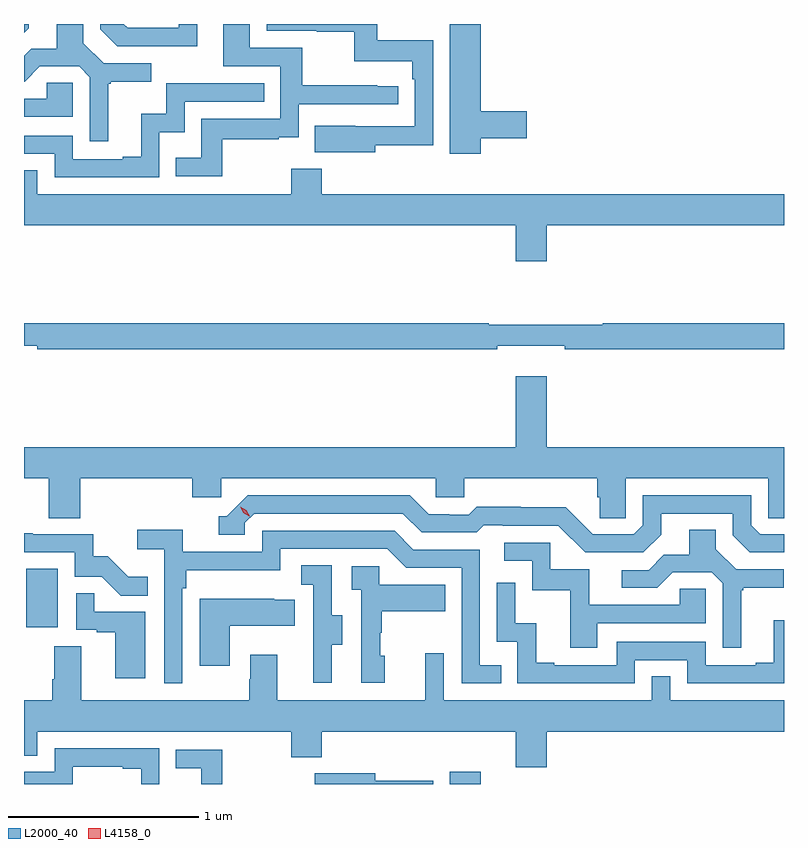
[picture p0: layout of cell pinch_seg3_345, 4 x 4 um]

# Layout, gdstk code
import gdstk
lib = gdstk.Library(unit=1e-6, precision=1e-09)
def R(c, l, rs):  # rectangles x0, y0, x1, y1
    for r in rs: c.add(gdstk.rectangle(r[:2], r[2:], *l))
def P(c, l, *ps):  # polygons
    for p in ps: c.add(gdstk.Polygon(p, *l))
L2000_40 = (2000, 40)
L4158_0 = (4158, 0)

pinch_seg3_345 = lib.new_cell('pinch_seg3_345')
R(pinch_seg3_345, L2000_40, [(1003.823,691.316,1003.984,691.381), (1001.594,692.142,1001.758,692.449)])
P(pinch_seg3_345, L2000_40, [(1002.625,694.71),(1002.923,694.71),(1002.923,694.721),(1003.026,694.721),(1003.026,694.893),(1003.552,694.893),(1003.552,694.989),(1003.439,694.989),(1003.439,694.994),(1003.046,694.994),(1003.046,695.19),(1002.769,695.19),(1002.769,695.316),(1002.629,695.316),(1002.629,695.094),(1002.93,695.094),(1002.93,694.818),(1002.514,694.818),(1002.514,694.612),(1002.379,694.612),(1002.379,694.515),(1002.625,694.515)],
  [(1003.984,694.714),(1004.227,694.714),(1004.227,694.856),(1003.984,694.856),(1003.984,695.316),(1003.823,695.316),(1003.823,694.632),(1003.984,694.632)],
  [(1003.429,694.678),(1003.734,694.678),(1003.734,695.23),(1003.441,695.23),(1003.441,695.316),(1002.858,695.316),(1002.858,695.28),(1003.123,695.28),(1003.123,695.275),(1003.32,695.275),(1003.32,695.12),(1003.625,695.12),(1003.625,695.024),(1003.638,695.024),(1003.638,694.779),(1003.325,694.779),(1003.325,694.78),(1003.111,694.78),(1003.111,694.64),(1003.429,694.64)],
  [(1002.493,695.316),(1002.396,695.316),(1002.396,695.295),(1002.126,695.295),(1002.105,695.316),(1001.982,695.316),(1001.982,695.289),(1002.072,695.199),(1002.288,695.199),(1002.288,695.198),(1002.493,695.198)],
  [(1001.605,695.293),(1001.605,695.316),(1001.581,695.316),(1001.581,695.269)],
  [(1002.025,695.001),(1002.037,695.001),(1002.037,695.012),(1002.25,695.012),(1002.25,695.109),(1002,695.109),(1001.893,695.216),(1001.893,695.316),(1001.753,695.316),(1001.753,695.186),(1001.618,695.186),(1001.581,695.149),(1001.581,695.013),(1001.584,695.013),(1001.665,695.094),(1001.871,695.094),(1001.928,695.037),(1001.928,694.698),(1002.025,694.698)],
  [(1001.838,695.007),(1001.701,695.007),(1001.701,694.923),(1001.581,694.923),(1001.581,694.827),(1001.838,694.827)],
  [(1002.294,694.745),(1002.426,694.745),(1002.426,694.908),(1002.845,694.908),(1002.845,695.004),(1002.33,695.004),(1002.33,694.843),(1002.197,694.843),(1002.197,694.618),(1002.101,694.618),(1002.101,694.605),(1001.838,694.605),(1001.838,694.728),(1001.581,694.728),(1001.581,694.632),(1001.742,694.632),(1001.742,694.509),(1002.294,694.509)],
  [(1004.332,694.256),(1005.581,694.256),(1005.581,694.42),(1003.148,694.42),(1003.148,694.555),(1002.988,694.555),(1002.988,694.42),(1001.652,694.42),(1001.652,694.547),(1001.581,694.547),(1001.581,694.256),(1004.168,694.256),(1004.168,694.068),(1004.332,694.068)],
  [(1004.072,693.623),(1004.428,693.623),(1004.428,693.604),(1005.581,693.604),(1005.581,693.74),(1004.626,693.74),(1004.626,693.733),(1004.026,693.733),(1004.026,693.74),(1001.581,693.74),(1001.581,693.623),(1001.65,693.623),(1001.65,693.604),(1004.072,693.604)],
  [(1004.332,693.463),(1004.168,693.463),(1004.168,693.088),(1001.581,693.088),(1001.581,692.924),(1001.711,692.924),(1001.711,692.716),(1001.876,692.716),(1001.876,692.924),(1002.467,692.924),(1002.467,692.826),(1002.618,692.826),(1002.618,692.924),(1003.749,692.924),(1003.749,692.826),(1003.899,692.826),(1003.899,692.924),(1004.597,692.924),(1004.597,692.826),(1004.611,692.826),(1004.611,692.716),(1004.748,692.716),(1004.748,692.924),(1005.498,692.924),(1005.498,692.716),(1005.581,692.716),(1005.581,693.088),(1004.332,693.088)],
  [(1004.935,692.629),(1004.935,692.739),(1005.312,692.739),(1005.312,692.625),(1005.402,692.535),(1005.581,692.535),(1005.581,692.631),(1005.456,692.631),(1005.408,692.679),(1005.408,692.835),(1004.838,692.835),(1004.838,692.679),(1004.79,692.631),(1004.574,692.631),(1004.432,692.773),(1004.196,692.773),(1004.196,692.776),(1003.963,692.776),(1003.921,692.733),(1003.818,692.733),(1003.818,692.736),(1003.711,692.736),(1003.612,692.835),(1002.759,692.835),(1002.648,692.724),(1002.605,692.724),(1002.605,692.628),(1002.744,692.628),(1002.744,692.691),(1002.792,692.739),(1003.575,692.739),(1003.674,692.64),(1003.963,692.64),(1004.002,692.679),(1004.101,692.679),(1004.101,692.676),(1004.394,692.676),(1004.535,692.535),(1004.841,692.535)],
  [(1005.355,692.337),(1005.367,692.337),(1005.367,692.348),(1005.58,692.348),(1005.58,692.445),(1005.33,692.445),(1005.223,692.552),(1005.223,692.654),(1005.083,692.654),(1005.083,692.522),(1004.948,692.522),(1004.868,692.442),(1004.727,692.442),(1004.727,692.349),(1004.914,692.349),(1004.995,692.43),(1005.201,692.43),(1005.258,692.373),(1005.258,692.034),(1005.355,692.034)],
  [(1002.414,692.345),(1002.434,692.345),(1002.434,692.441),(1002.93,692.441),(1002.93,692.553),(1003.494,692.553),(1003.593,692.454),(1003.884,692.454),(1003.884,691.845),(1004.093,691.845),(1004.093,691.941),(1003.98,691.941),(1003.98,692.55),(1003.63,692.55),(1003.531,692.649),(1002.834,692.649),(1002.834,692.538),(1002.416,692.538),(1002.416,692.654),(1002.177,692.654),(1002.177,692.552),(1002.318,692.552),(1002.318,691.845),(1002.414,691.845)],
  [(1002.233,692.407),(1002.129,692.407),(1002.022,692.514),(1001.946,692.514),(1001.946,692.631),(1001.627,692.631),(1001.627,692.636),(1001.581,692.636),(1001.581,692.535),(1001.847,692.535),(1001.847,692.406),(1001.991,692.406),(1002.089,692.308),(1002.233,692.308)],
  [(1004.599,692.163),(1005.168,692.163),(1005.168,692.343),(1005.031,692.343),(1005.031,692.259),(1004.557,692.259),(1004.557,692.445),(1004.352,692.445),(1004.352,692.586),(1004.109,692.586),(1004.109,692.49),(1004.256,692.49),(1004.256,692.337),(1004.455,692.337),(1004.455,692.034),(1004.599,692.034)],
  [(1003.201,692.05),(1003.255,692.05),(1003.255,692.205),(1003.2,692.205),(1003.2,692.468),(1003.041,692.468),(1003.041,692.365),(1003.104,692.365),(1003.104,692.061),(1003.103,692.061),(1003.103,691.848),(1003.201,691.848)],
  [(1003.48,691.992),(1003.455,691.992),(1003.455,692.111),(1003.465,692.111),(1003.465,692.225),(1003.799,692.225),(1003.799,692.365),(1003.452,692.365),(1003.452,692.463),(1003.305,692.463),(1003.305,692.339),(1003.356,692.339),(1003.356,691.848),(1003.48,691.848)],
  [(1004.796,691.968),(1005.072,691.968),(1005.072,691.845),(1005.581,691.845),(1005.581,692.179),(1005.527,692.179),(1005.527,691.954),(1005.431,691.954),(1005.431,691.941),(1005.168,691.941),(1005.168,692.064),(1004.7,692.064),(1004.7,691.941),(1004.371,691.941),(1004.371,691.954),(1004.276,691.954),(1004.276,692.162),(1004.166,692.162),(1004.166,692.374),(1004.07,692.374),(1004.07,692.064),(1004.178,692.064),(1004.178,691.845),(1004.796,691.845)],
  [(1002.22,692.223),(1001.951,692.223),(1001.951,692.321),(1001.856,692.321),(1001.856,692.127),(1001.963,692.127),(1001.963,692.115),(1002.062,692.115),(1002.062,691.872),(1002.22,691.872)],
  [(1002.664,692.15),(1003.007,692.15),(1003.007,692.287),(1002.899,692.287),(1002.899,692.29),(1002.506,692.29),(1002.506,691.938),(1002.664,691.938)],
  [(1004.332,691.592),(1005.581,691.592),(1005.581,691.756),(1004.982,691.756),(1004.982,691.883),(1004.886,691.883),(1004.886,691.756),(1003.791,691.756),(1003.791,692.005),(1003.694,692.005),(1003.694,691.756),(1002.913,691.756),(1002.913,691.996),(1002.773,691.996),(1002.773,691.868),(1002.766,691.868),(1002.766,691.756),(1001.881,691.756),(1001.881,692.042),(1001.741,692.042),(1001.741,691.868),(1001.729,691.868),(1001.729,691.756),(1001.581,691.756),(1001.581,691.465),(1001.652,691.465),(1001.652,691.592),(1002.988,691.592),(1002.988,691.457),(1003.148,691.457),(1003.148,691.592),(1004.168,691.592),(1004.168,691.404),(1004.332,691.404)],
  [(1001.838,691.407),(1002.101,691.407),(1002.101,691.395),(1002.197,691.395),(1002.197,691.316),(1002.294,691.316),(1002.294,691.503),(1001.742,691.503),(1001.742,691.38),(1001.581,691.38),(1001.581,691.316),(1001.838,691.316)],
  [(1002.625,691.497),(1002.379,691.497),(1002.379,691.4),(1002.514,691.4),(1002.514,691.316),(1002.625,691.316)],
  [(1003.734,691.334),(1003.429,691.334),(1003.429,691.372),(1003.111,691.372),(1003.111,691.316),(1003.734,691.316)])
P(pinch_seg3_345, L4158_0, [(1002.767,692.725),(1002.736,692.744),(1002.72,692.776),(1002.72,692.776),(1002.72,692.776),(1002.751,692.757),(1002.768,692.725),(1002.768,692.725)])

lib.write_gds('pinch_seg3_345.gds')
